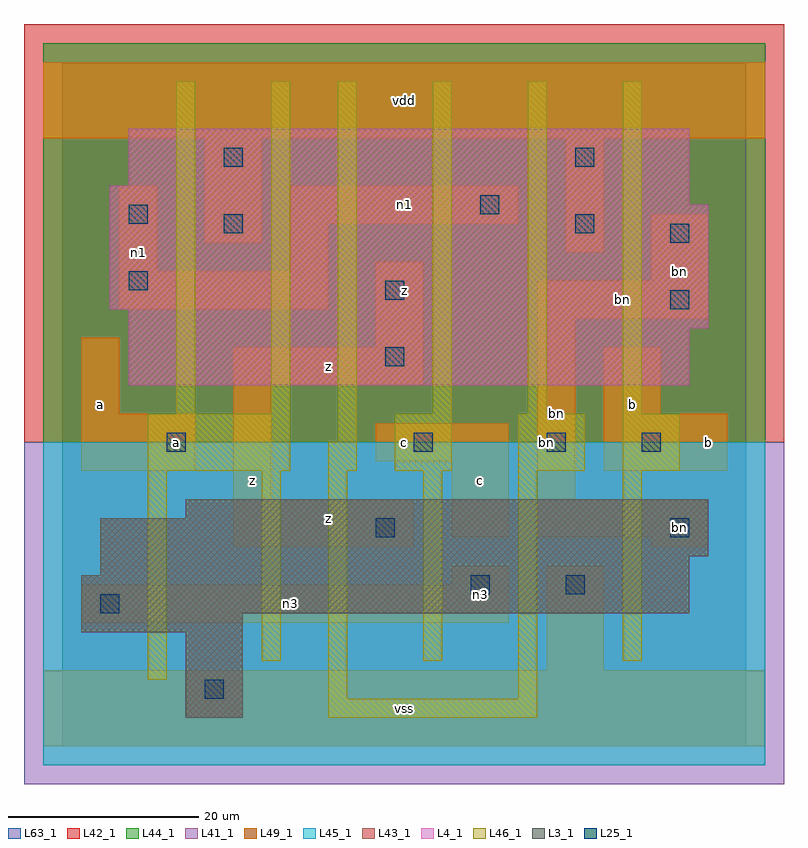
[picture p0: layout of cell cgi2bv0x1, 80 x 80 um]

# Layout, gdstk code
import gdstk
lib = gdstk.Library(unit=1e-6, precision=1e-09)
def R(c, l, rs):  # rectangles x0, y0, x1, y1
    for r in rs: c.add(gdstk.rectangle(r[:2], r[2:], *l))
def A(c, l, x, y, w, h, nx, ny, dx, dy):  # array of equal rectangles
    R(c, l, [(x+i*dx, y+j*dy, x+i*dx+w, y+j*dy+h) for i in range(nx) for j in range(ny)])
L3_1 = (3, 1)
L4_1 = (4, 1)
L25_1 = (25, 1)
L41_1 = (41, 1)
L42_1 = (42, 1)
L43_1 = (43, 1)
L44_1 = (44, 1)
L45_1 = (45, 1)
L46_1 = (46, 1)
L49_1 = (49, 1)
L63_1 = (63, 1)

cgi2bv0x1 = lib.new_cell('cgi2bv0x1')
R(cgi2bv0x1, L3_1, [(13,3,19,12), (2,12,19,14), (2,14,66,18), (4,18,66,20), (4,20,68,24), (13,24,68,26)])
R(cgi2bv0x1, L4_1, [(7,38,66,44), (7,44,68,46), (5,46,68,57), (5,57,66,59), (7,59,66,65)])
R(cgi2bv0x1, L25_1, [(15,5,17,7), (4,14,6,16), (43,16,45,18), (53,16,55,18), (33,22,35,24), (64,22,66,24), (11,31,13,33), (37,31,39,33), (51,31,53,33), (61,31,63,33), (34,40,36,42), (64,46,66,48), (34,47,36,49), (7,48,9,50), (64,53,66,55), (17,54,19,56), (54,54,56,56), (7,55,9,57), (44,56,46,58), (17,61,19,63), (54,61,56,63)])
R(cgi2bv0x1, L41_1, [(-4,-4,76,32)])
R(cgi2bv0x1, L42_1, [(-4,32,76,76)])
R(cgi2bv0x1, L43_1, [(13,3,19,12), (2,12,19,14), (2,14,66,18), (4,18,66,20), (4,20,68,24), (13,24,68,26), (7,38,66,44), (7,44,68,46), (5,46,68,57), (5,57,66,59), (7,59,66,65)])
R(cgi2bv0x1, L44_1, [(-2,32,74,74)])
R(cgi2bv0x1, L45_1, [(-2,-2,74,32)])
A(cgi2bv0x1, L46_1, 39, 35, 2, 35, 3, 1, 10, 0)
R(cgi2bv0x1, L46_1, [(28,3,50,5), (28,5,30,29), (48,5,50,29), (9,7,11,29), (21,9,23,29), (38,9,40,29), (59,9,61,29), (9,29,24,35), (28,29,31,32), (35,29,41,35), (48,29,55,35), (59,29,65,35), (29,32,31,70), (12,35,14,70), (22,35,24,70)])
R(cgi2bv0x1, L49_1, [(-2,0,74,8), (51,8,57,19), (2,13,47,17), (41,17,47,19), (18,21,37,26), (62,21,68,22), (41,22,47,30), (50,22,68,26), (18,26,22,38), (50,26,54,45), (2,29,14,35), (57,29,70,35), (33,30,47,34), (2,35,6,43), (57,35,63,42), (18,38,38,42), (33,42,38,51), (50,45,68,49), (6,46,28,50), (62,49,68,56), (6,50,10,59), (24,50,28,55), (53,52,57,64), (15,53,21,64), (24,55,48,59), (-2,64,74,72)])
R(cgi2bv0x1, L63_1, [(0,0,72,72)])
cgi2bv0x1.add(gdstk.Label('bn', (51,32), layer=49, texttype=1))
cgi2bv0x1.add(gdstk.Label('a', (12,32), layer=49, texttype=1))
cgi2bv0x1.add(gdstk.Label('a', (4,36), layer=49, texttype=1))
cgi2bv0x1.add(gdstk.Label('n1', (8,52), layer=49, texttype=1))
cgi2bv0x1.add(gdstk.Label('z', (20,28), layer=49, texttype=1))
cgi2bv0x1.add(gdstk.Label('z', (28,24), layer=49, texttype=1))
cgi2bv0x1.add(gdstk.Label('z', (28,40), layer=49, texttype=1))
cgi2bv0x1.add(gdstk.Label('vss', (36,4), layer=49, texttype=1))
cgi2bv0x1.add(gdstk.Label('n3', (24,15), layer=49, texttype=1))
cgi2bv0x1.add(gdstk.Label('n3', (44,16), layer=49, texttype=1))
cgi2bv0x1.add(gdstk.Label('c', (36,32), layer=49, texttype=1))
cgi2bv0x1.add(gdstk.Label('c', (44,28), layer=49, texttype=1))
cgi2bv0x1.add(gdstk.Label('bn', (52,35), layer=49, texttype=1))
cgi2bv0x1.add(gdstk.Label('z', (36,48), layer=49, texttype=1))
cgi2bv0x1.add(gdstk.Label('n1', (36,57), layer=49, texttype=1))
cgi2bv0x1.add(gdstk.Label('vdd', (36,68), layer=49, texttype=1))
cgi2bv0x1.add(gdstk.Label('bn', (65,23), layer=49, texttype=1))
cgi2bv0x1.add(gdstk.Label('b', (68,32), layer=49, texttype=1))
cgi2bv0x1.add(gdstk.Label('b', (60,36), layer=49, texttype=1))
cgi2bv0x1.add(gdstk.Label('bn', (59,47), layer=49, texttype=1))
cgi2bv0x1.add(gdstk.Label('bn', (65,50), layer=49, texttype=1))

lib.write_gds('cgi2bv0x1.gds')
